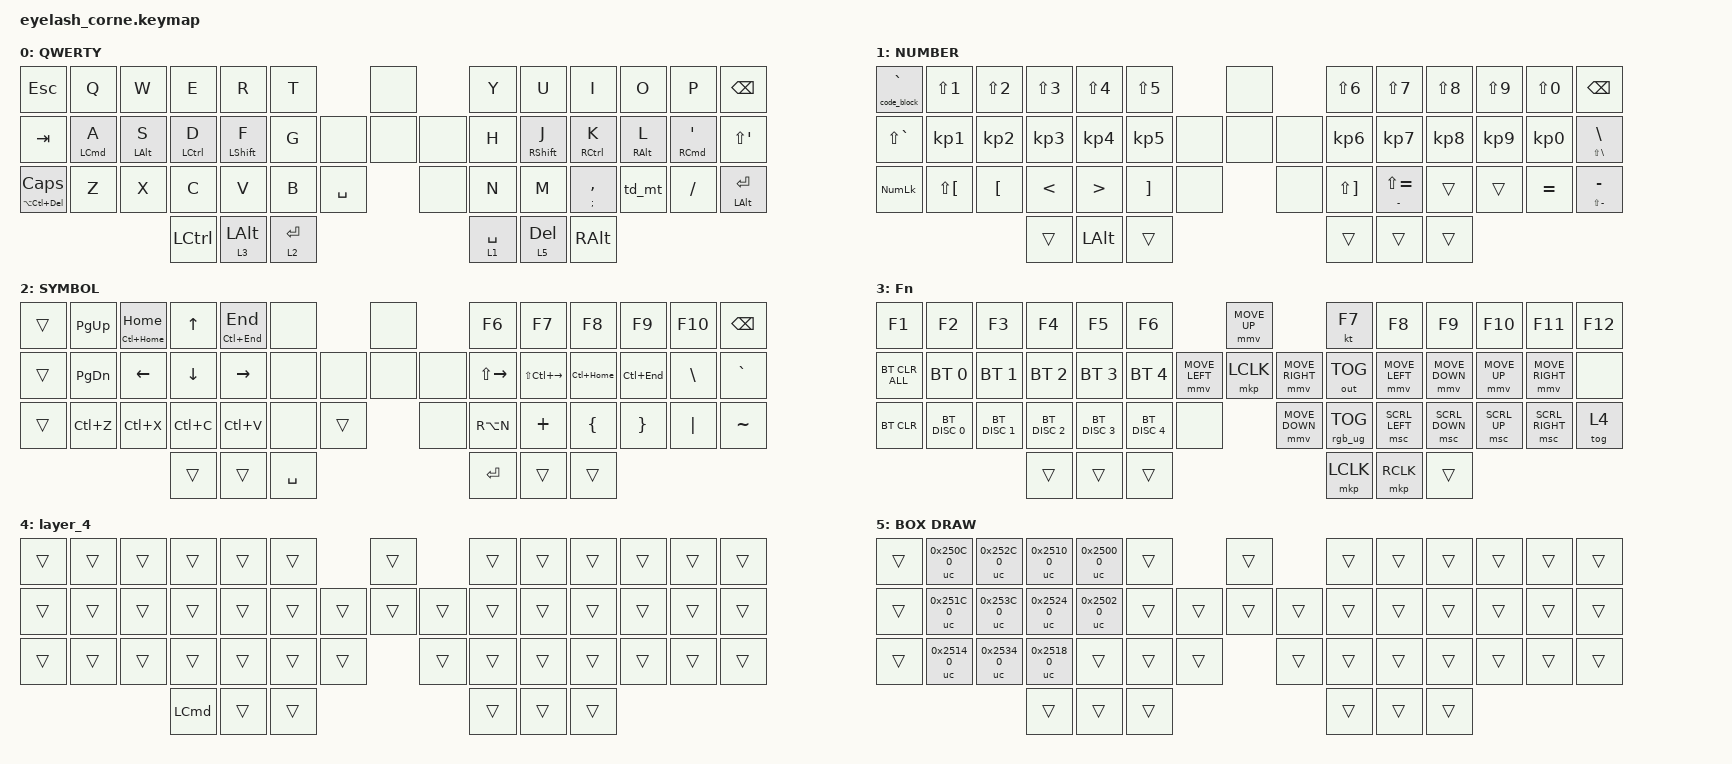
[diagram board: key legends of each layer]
#define ZMK_POINTING_DEFAULT_MOVE_VAL 1200  // 600
#define ZMK_POINTING_DEFAULT_SCRL_VAL 25   // 10

#include <input/processors.dtsi>
#include <zephyr/dt-bindings/input/input-event-codes.h>
#include <behaviors/unicode.dtsi>
#include <zmk-unicode/keys-extra.h>  // All glyphs except CJK
#include <behaviors.dtsi>
#include <dt-bindings/zmk/bt.h>
#include <dt-bindings/zmk/keys.h>
#include <dt-bindings/zmk/outputs.h>
#include <dt-bindings/zmk/pointing.h>
#include <dt-bindings/zmk/rgb.h>

&mmv_input_listener { input-processors = <&zip_xy_scaler 2 1>; };

&msc_input_listener { input-processors = <&zip_scroll_scaler 2 1>; };

&mt {
    tapping-term-ms = <280>; // This is the value already set by default
    flavor = "balanced";
    quick-tap-ms = <175>;
    require-prior-idle-ms = <150>;
};

/ {
    behaviors {
        mt_shift: mt_shift {
            compatible = "zmk,behavior-hold-tap";
            label = "MT_SHIFT";
            #binding-cells = <2>;
            bindings = <&kp>, <&kp>;

            tapping-term-ms = <280>;
            flavor = "balanced";
            quick-tap-ms = <175>;
            require-prior-idle-ms = <50>;
        };
    };
};

&msc {
    acceleration-exponent = <0>;      // 0
    time-to-max-speed-ms = <0>;       // 300
    delay-ms = <0>;                   // 0
};

&mmv {
    time-to-max-speed-ms = <500>;
    acceleration-exponent = <1>;
    trigger-period-ms = <16>;
};

/ {
    behaviors {
        td_mt: tap_dance_mod_tap {
            compatible = "zmk,behavior-tap-dance";
            #binding-cells = <0>;
            tapping-term-ms = <200>;
            bindings = <&hold_tap 0 PERIOD>, <&kp COLON>;
        };

        td0: td0 {
            compatible = "zmk,behavior-tap-dance";
            display-name = "Shift/Caps Lock Tap Dance";
            #binding-cells = <0>;
            bindings = <&kp LEFT_SHIFT>, <&kp CAPS>;
        };

        hold_tap: hold_tap {
            compatible = "zmk,behavior-hold-tap";
            label = "HOLD_TAP";
            bindings = <&triple_dots>, <&kp>;

            #binding-cells = <2>;
            tapping-term-ms = <200>;
        };

        win_ios: win_ios {
            compatible = "zmk,behavior-key-toggle";
            label = "WIN_IOS";
            #binding-cells = <1>;
        };

        bhv_code_block: bhv_code_block {
            compatible = "zmk,behavior-hold-tap";
            label = "BHV_CODE_BLOCK";
            bindings = <&code_block>, <&kp>;

            #binding-cells = <2>;
            tapping-term-ms = <150>;
        };
    };

    rgb_encoder: rgb_encoder {
        compatible = "zmk,behavior-sensor-rotate";
        #sensor-binding-cells = <0>;
        bindings = <&rgb_ug RGB_BRI>, <&rgb_ug RGB_BRD>;
    };

    scroll_encoder: scroll_encoder {
        compatible = "zmk,behavior-sensor-rotate";
        #sensor-binding-cells = <0>;
        bindings = <&msc SCRL_DOWN>, <&msc SCRL_UP>;

        tap-ms = <100>;
    };

    macros {
        mil_bendiciones: mil_bendiciones {
            compatible = "zmk,behavior-macro";
            #binding-cells = <0>;
            bindings =
                <&macro_tap_time 1>,
                <&kp M &kp I &kp L &kp SPACE &kp B &kp E &kp N &kp D &kp I &kp C &kp I &kp O &kp N &kp E &kp S>;

            label = "MIL_BENDICIONES";
        };

        triple_dots: triple_dots {
            compatible = "zmk,behavior-macro";
            #binding-cells = <0>;
            bindings = <&macro_tap_time 1>, <&kp DOT &kp DOT &kp DOT>;

            label = "TRIPLE_DOTS";
        };

        mil_gracias: mil_gracias {
            compatible = "zmk,behavior-macro";
            #binding-cells = <0>;
            bindings =
                <&macro_tap_time 1>,
                <&kp M &kp I &kp L &kp SPACE &kp G &kp R &kp A &kp C &kp I &kp A &kp S>;

            label = "MIL_GRACIAS";
        };

        code_block: code_block {
            compatible = "zmk,behavior-macro";
            #binding-cells = <0>;
            bindings =
                <&macro_tap_time 1>,
                <&kp GRAVE &kp GRAVE &kp GRAVE &kp SPACE &kp LS(ENTER) &kp LS(ENTER) &kp GRAVE &kp GRAVE &kp GRAVE &kp SPACE &kp UP_ARROW>;

            label = "CODE_BLOCK";
        };
    };

    combos {
        compatible = "zmk,combos";

        cmb_mil_bendiciones {
            bindings = <&mil_bendiciones>;
            key-positions = <33 37>;
        };

        cmb_mil_gracias {
            bindings = <&mil_gracias>;
            key-positions = <18 37>;
        };

        semi_colon {
            bindings = <&kp COLON>;
            key-positions = <38 39>;
        };
    };

    keymap {
        compatible = "zmk,keymap";

        default_layer {
            display-name = "QWERTY";
            bindings = <
&kp ESCAPE                   &kp Q               &kp W           &kp E               &kp R                   &kp T                            &none         &kp Y        &kp U                    &kp I                &kp O            &kp P                           &kp BSPC
&kp TAB                      &mt LEFT_COMMAND A  &mt LEFT_ALT S  &mt LEFT_CONTROL D  &mt_shift LEFT_SHIFT F  &kp G                     &none  &none  &none  &kp H        &mt_shift RIGHT_SHIFT J  &mt RIGHT_CONTROL K  &mt RIGHT_ALT L  &mt RIGHT_COMMAND SINGLE_QUOTE  &kp LS(SINGLE_QUOTE)
&mt LA(LC(DELETE)) CAPSLOCK  &kp Z               &kp X           &kp C               &kp V                   &kp B        &kp SPACE           &none         &kp N        &kp M                    &mt SEMICOLON COMMA  &td_mt           &kp FSLH                        &mt LEFT_ALT ENTER
                                                                 &kp LEFT_CONTROL    &lt 3 LEFT_ALT          &lt 2 ENTER                                    &lt 1 SPACE  &lt 5 DEL                &kp RALT
            >;

            // sensor-bindings = <&inc_dec_kp C_VOLUME_UP C_VOLUME_DOWN>;
        };

        lower_layer {
            display-name = "NUMBER";
            bindings = <
&bhv_code_block 0 GRAVE  &kp LS(NUMBER_1)      &kp LS(NUMBER_2)  &kp LS(NUMBER_3)  &kp LS(NUMBER_4)  &kp LS(NUMBER_5)                   &none         &kp LS(NUMBER_6)       &kp LS(NUMBER_7)     &kp LS(NUMBER_8)  &kp LS(NUMBER_9)  &kp LS(NUMBER_0)  &kp BSPC
&kp LS(GRAVE)            &kp KP_N1             &kp KP_N2         &kp KP_N3         &kp KP_N4         &kp KP_N5                   &none  &none  &none  &kp KP_N6              &kp KP_N7            &kp KP_N8         &kp KP_N9         &kp KP_N0         &mt LS(BACKSLASH) BACKSLASH
&kp KP_NLCK              &kp LS(LEFT_BRACKET)  &kp LEFT_BRACKET  &kp LESS_THAN     &kp GREATER_THAN  &kp RIGHT_BRACKET  &none           &none         &kp LS(RIGHT_BRACKET)  &mt MINUS LS(EQUAL)  &trans            &trans            &kp EQUAL         &mt LS(MINUS) MINUS
                                                                 &trans            &kp LEFT_ALT      &trans                                           &trans                 &trans               &trans
            >;
        };

        raise_layer {
            display-name = "SYMBOL";
            bindings = <
&trans  &kp PAGE_UP    &mt LC(HOME) HOME  &kp UP_ARROW    &mt LC(END) END  &none                       &none         &kp F6               &kp F7                   &kp F8        &kp F9       &kp F10   &kp BSPC
&trans  &kp PAGE_DOWN  &kp LEFT_ARROW     &kp DOWN_ARROW  &kp RIGHT_ARROW  &none                &none  &none  &none  &kp LS(RIGHT_ARROW)  &kp LS(LC(RIGHT_ARROW))  &kp LC(HOME)  &kp LC(END)  &kp BSLH  &kp GRAVE
&trans  &kp LC(Z)      &kp LC(X)          &kp LC(C)       &kp LC(V)        &none      &trans           &none         &kp RA(N)            &kp PLUS                 &kp LBRC      &kp RBRC     &kp PIPE  &kp TILDE
                                          &trans          &trans           &kp SPACE                                 &kp RET              &trans                   &trans
            >;
        };

        layer_3 {
            display-name = "Fn";
            bindings = <
&kp F1          &kp F2         &kp F3         &kp F4         &kp F5         &kp F6                                  &mmv MOVE_UP                     &kt F7           &kp F8          &kp F9          &kp F10       &kp F11          &kp F12
&bt BT_CLR_ALL  &bt BT_SEL 0   &bt BT_SEL 1   &bt BT_SEL 2   &bt BT_SEL 3   &bt BT_SEL 4            &mmv MOVE_LEFT  &mkp LCLK       &mmv MOVE_RIGHT  &out OUT_TOG     &mmv MOVE_LEFT  &mmv MOVE_DOWN  &mmv MOVE_UP  &mmv MOVE_RIGHT  &none
&bt BT_CLR      &bt BT_DISC 0  &bt BT_DISC 1  &bt BT_DISC 2  &bt BT_DISC 3  &bt BT_DISC 4  &none                    &mmv MOVE_DOWN                   &rgb_ug RGB_TOG  &msc SCRL_LEFT  &msc SCRL_DOWN  &msc SCRL_UP  &msc SCRL_RIGHT  &tog 4
                                              &trans         &trans         &trans                                                                   &mkp LCLK        &mkp RCLK       &trans
            >;
        };

        layer_4 {
            bindings = <
&trans  &trans  &trans  &trans            &trans  &trans                    &trans          &trans  &trans  &trans  &trans  &trans  &trans
&trans  &trans  &trans  &trans            &trans  &trans            &trans  &trans  &trans  &trans  &trans  &trans  &trans  &trans  &trans
&trans  &trans  &trans  &trans            &trans  &trans  &trans            &trans          &trans  &trans  &trans  &trans  &trans  &trans
                        &kp LEFT_COMMAND  &trans  &trans                                    &trans  &trans  &trans
            >;
        };

        layer_5 {
            display-name = "BOX DRAW";
            bindings = <
&trans  &uc 0x250C 0  &uc 0x252C 0  &uc 0x2510 0  &uc 0x2500 0  &trans                    &trans          &trans  &trans  &trans  &trans  &trans  &trans
&trans  &uc 0x251C 0  &uc 0x253C 0  &uc 0x2524 0  &uc 0x2502 0  &trans            &trans  &trans  &trans  &trans  &trans  &trans  &trans  &trans  &trans
&trans  &uc 0x2514 0  &uc 0x2534 0  &uc 0x2518 0  &trans        &trans  &trans            &trans          &trans  &trans  &trans  &trans  &trans  &trans
                                    &trans        &trans        &trans                                    &trans  &trans  &trans
            >;
        };
    };
};
